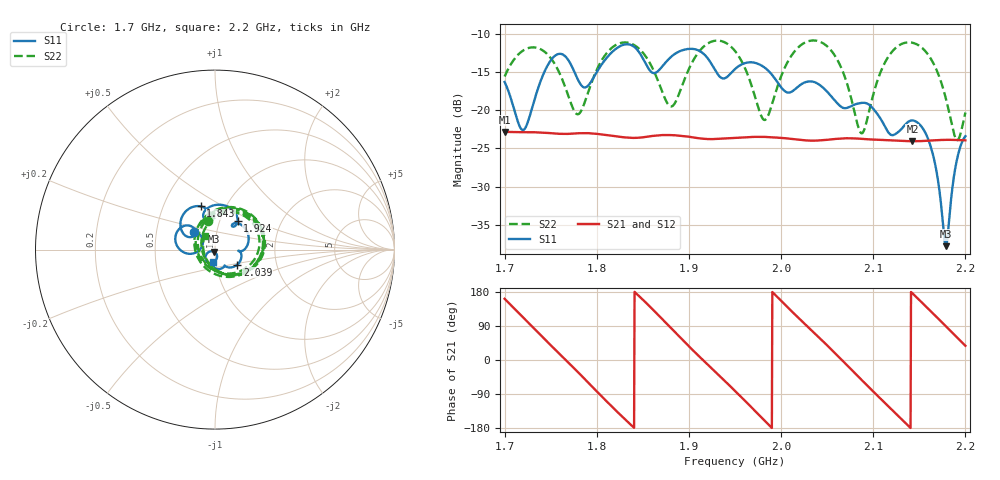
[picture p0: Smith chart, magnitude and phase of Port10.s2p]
# Hz S RI R 50
! CMT, CMT808U, 21440046, 21.4.3/4
! Date: 4/9/2026 1:48:18 AM
! Data: Format (Calibration Info)
! Freq	S11:Re/Im(F2)	S41:Re/Im(F2)	S14:Re/Im(F2)	S44:Re/Im(F2)
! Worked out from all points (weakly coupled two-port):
!   1001 points, 1.7 GHz to 2.2 GHz, reference 50 ohm
!   highest |S21| = -22.84 dB at 1.7 GHz (marker M1); lowest = -24.1 dB at 2.143 GHz (marker M2)
!   lowest |S11| = -37.8 dB at 2.179 GHz (marker M3), VSWR 1.03, Z = 49.5 - j1.18 ohm
!   |S11| at or under -10 dB: start of sweep to end of sweep
!   |S22| runs from -23.9 to -10.9 dB; largest |S21 - S12| = 0.001
!   S11 on the Smith chart (normalised r, x): 1.7 GHz: 0.78, +0.15; 1.843 GHz: 0.76, +0.39; 1.924 GHz: 1.21, +0.40; 2.039 GHz: 1.26, -0.22; 2.2 GHz: 0.97, -0.13
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1.7e9  -0.1179 0.0973  -0.0684 0.0229  -0.0684 0.022  -0.0378 0.1615
1.72e9  -0.0705 0.0227  -0.0278 0.0661  -0.0285 0.0655  0.1492 0.1949
1.74e9  -0.1589 -0.0209  0.0317 0.064  0.0308 0.0641  0.2474 0.0266
1.761e9  -0.2115 0.0988  0.0682 0.0154  0.0677 0.0163  0.104 -0.131
1.7835e9  -0.1101 0.0939  0.0529 -0.047  0.0533 -0.0461  -0.0998 -0.00618
1.813e9  -0.1913 0.1238  -0.0286 -0.0623  -0.0277 -0.0625  0.079 0.2316
1.8425e9  -0.0796 0.2408  -0.0658 0.00412  -0.0656 0.0033  0.2622 -0.00497
1.867e9  -0.0587 0.1715  -0.0322 0.0605  -0.0328 0.0598  0.0369 -0.1482
1.8825e9  -0.0511 0.2224  0.0128 0.0674  0.0119 0.0674  -0.1033 -0.0272
1.924e9  0.1255 0.1593  0.0607 -0.0223  0.0609 -0.0214  0.1982 0.1978
1.95e9  0.1126 0.1476  0.00975 -0.0652  0.0107 -0.0649  0.2344 -0.0671
1.9825e9  0.1852 0.0388  -0.0632 -0.0219  -0.0627 -0.0227  -0.0793 -0.034
2.01e9  0.1307 -0.00586  -0.0436 0.0483  -0.0442 0.0475  0.0385 0.2181
2.0335e9  0.1389 -0.0664  0.0142 0.0616  0.0132 0.0617  0.2578 0.1228
2.039e9  0.1241 -0.0842  0.0274 0.057  0.0265 0.0574  0.2762 0.0666
2.0875e9  0.034 -0.1063  0.0392 -0.0518  0.0398 -0.0511  -0.0669 -0.0226
2.117e9  -0.0121 -0.0698  -0.0352 -0.0528  -0.0344 -0.0532  0.0881 0.2087
2.1425e9  -0.031 -0.0799  -0.0624 0.0044  -0.0625 0.00355  0.2711 0.0526
2.1635e9  -0.048 -0.0264  -0.0375 0.0511  -0.0382 0.0505  0.1705 -0.1259
2.179e9  -0.00482 -0.012  0.00148 0.064  0.000567 0.0639  0.0131 -0.1172
2.1905e9  0.0112 -0.0451  0.0314 0.0556  0.0306 0.056  -0.0599 -0.0222
2.2e9  -0.0125 -0.0664  0.0503 0.0387  0.0497 0.0394  -0.0578 0.0774
